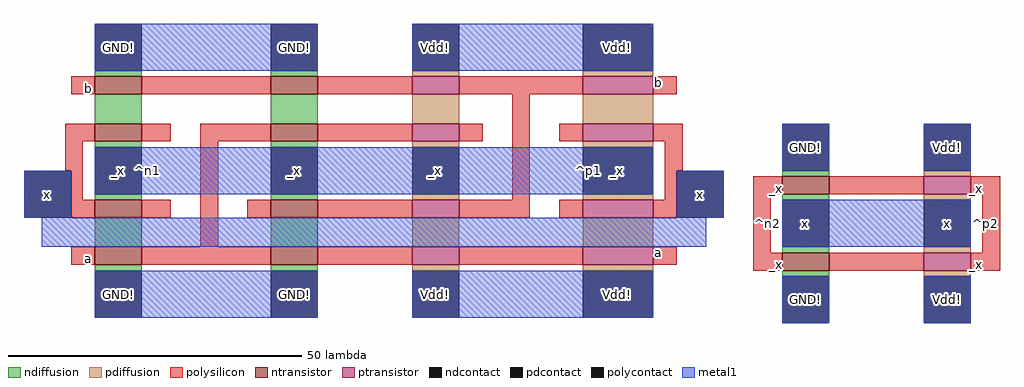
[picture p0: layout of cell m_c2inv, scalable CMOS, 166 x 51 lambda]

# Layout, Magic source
magic
tech scmos
<< ndiffusion >>
rect -50 33 -42 34
rect -20 33 -12 34
rect -50 25 -42 30
rect -20 25 -12 30
rect -50 21 -42 22
rect -50 12 -42 13
rect -50 4 -42 9
rect -20 21 -12 22
rect -20 12 -12 13
rect 67 16 75 17
rect -20 4 -12 9
rect 67 12 75 13
rect 67 3 75 4
rect -50 0 -42 1
rect -20 0 -12 1
rect 67 -1 75 0
<< pdiffusion >>
rect 4 33 12 34
rect 33 33 45 34
rect 4 25 12 30
rect 4 21 12 22
rect 4 12 12 13
rect 33 25 45 30
rect 33 21 45 22
rect 33 12 45 13
rect 91 16 99 17
rect 4 4 12 9
rect 33 4 45 9
rect 91 12 99 13
rect 91 3 99 4
rect 4 0 12 1
rect 33 0 45 1
rect 91 -1 99 0
<< ntransistor >>
rect -50 30 -42 33
rect -20 30 -12 33
rect -50 22 -42 25
rect -20 22 -12 25
rect -50 9 -42 12
rect -20 9 -12 12
rect 67 13 75 16
rect -50 1 -42 4
rect -20 1 -12 4
rect 67 0 75 3
<< ptransistor >>
rect 4 30 12 33
rect 33 30 45 33
rect 4 22 12 25
rect 33 22 45 25
rect 4 9 12 12
rect 33 9 45 12
rect 91 13 99 16
rect 4 1 12 4
rect 33 1 45 4
rect 91 0 99 3
<< polysilicon >>
rect -54 30 -50 33
rect -42 30 -20 33
rect -12 30 4 33
rect 12 30 33 33
rect 45 30 49 33
rect -55 22 -50 25
rect -42 22 -37 25
rect -32 22 -20 25
rect -12 22 4 25
rect 12 22 16 25
rect -55 17 -52 22
rect -54 12 -52 17
rect -54 9 -50 12
rect -42 9 -37 12
rect -32 4 -29 22
rect 21 12 24 30
rect 29 22 33 25
rect 45 22 50 25
rect 47 17 50 22
rect 47 12 49 17
rect -24 9 -20 12
rect -12 9 4 12
rect 12 9 24 12
rect 29 9 33 12
rect 45 9 49 12
rect 62 13 67 16
rect 75 13 91 16
rect 99 13 104 16
rect -54 1 -50 4
rect -42 1 -20 4
rect -12 1 4 4
rect 12 1 33 4
rect 45 1 49 4
rect 62 3 65 13
rect 101 3 104 13
rect 62 0 67 3
rect 75 0 91 3
rect 99 0 104 3
<< ndcontact >>
rect -50 34 -42 42
rect -20 34 -12 42
rect -50 13 -42 21
rect -20 13 -12 21
rect 67 17 75 25
rect 67 4 75 12
rect -50 -8 -42 0
rect -20 -8 -12 0
rect 67 -9 75 -1
<< pdcontact >>
rect 4 34 12 42
rect 33 34 45 42
rect 4 13 12 21
rect 33 13 45 21
rect 91 17 99 25
rect 91 4 99 12
rect 4 -8 12 0
rect 33 -8 45 0
rect 91 -9 99 -1
<< polycontact >>
rect -62 9 -54 17
rect 49 9 57 17
<< metal1 >>
rect -50 34 -12 42
rect 4 34 45 42
rect -62 9 -54 17
rect -50 13 45 21
rect 67 17 75 25
rect 91 17 99 25
rect 49 9 57 17
rect -59 4 54 9
rect 67 4 99 12
rect -50 -8 -12 0
rect 4 -8 45 0
rect 67 -9 75 -1
rect 91 -9 99 -1
<< labels >>
rlabel metal1 -16 38 -16 38 5 GND!
rlabel metal1 8 38 8 38 5 Vdd!
rlabel metal1 -16 -4 -16 -4 1 GND!
rlabel metal1 8 -4 8 -4 1 Vdd!
rlabel metal1 -46 38 -46 38 5 GND!
rlabel metal1 -46 -4 -46 -4 1 GND!
rlabel polysilicon -51 31 -51 31 3 b
rlabel polysilicon -51 2 -51 2 3 a
rlabel polysilicon 46 3 46 3 7 a
rlabel polysilicon 46 32 46 32 7 b
rlabel metal1 39 38 39 38 5 Vdd!
rlabel metal1 39 -4 39 -4 1 Vdd!
rlabel metal1 -46 17 -46 17 1 _x
rlabel metal1 -16 17 -16 17 1 _x
rlabel metal1 8 17 8 17 1 _x
rlabel metal1 39 17 39 17 1 _x
rlabel metal1 53 13 53 13 1 x
rlabel metal1 -58 13 -58 13 1 x
rlabel ndcontact 71 8 71 8 1 x
rlabel pdcontact 95 8 95 8 1 x
rlabel ndcontact 71 -5 71 -5 1 GND!
rlabel pdcontact 95 -5 95 -5 1 Vdd!
rlabel pdcontact 95 21 95 21 5 Vdd!
rlabel ndcontact 71 21 71 21 5 GND!
rlabel polysilicon 66 14 66 14 1 _x
rlabel polysilicon 66 1 66 1 1 _x
rlabel polysilicon 100 14 100 14 1 _x
rlabel polysilicon 100 1 100 1 1 _x
rlabel space -63 -9 -19 43 7 ^n1
rlabel space 10 -9 58 43 3 ^p1
rlabel space 61 -10 68 26 7 ^n2
rlabel space 98 -10 105 26 3 ^p2
<< end >>
